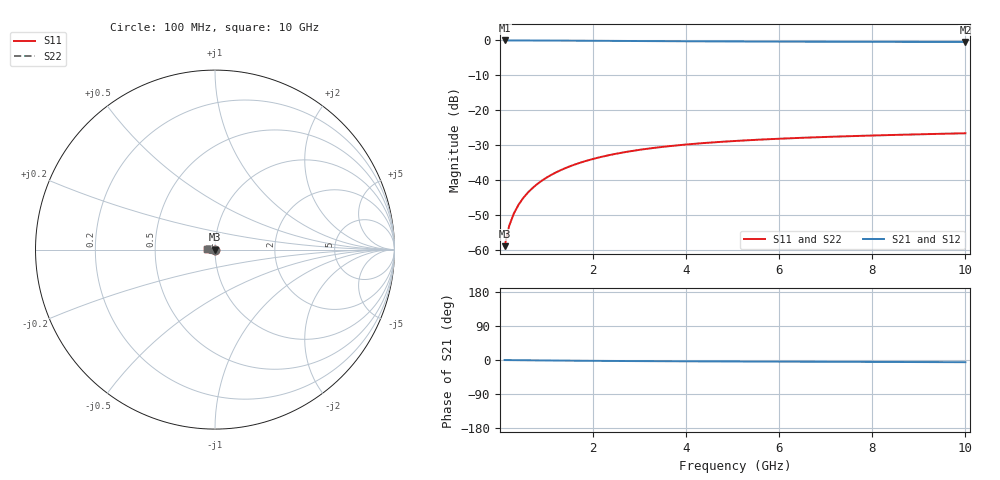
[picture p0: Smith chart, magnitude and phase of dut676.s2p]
! Touchstone file exported from HFSS 2024.1.0
!  File:  C:/UserFiles/LocalFiles/RDL_TSV_Batchsim/temp_TSV1_676_1779794632.aedt
!  Generated:  07:28:42 PM May 26, 2026
!  Design:  TSV1
!  Project:  temp_TSV1_676_1779794632
!  Setup:  Setup1
!  Solution:  Sweep
! Variables:
!  dtsv = 8um
!  hbump = 3um
!  htsv = 92.06um
!  lrdl = 252.1521522um
!  p = 40
!  p1 = 43.88um
!  t = 500um
!  trdl = 3um
!  wrdl = 24.89489489um
# GHz S MA R 50.000000
! Terminal data exported
! Port[1] = TSV22_T1
! Port[2] = TSV22_T2
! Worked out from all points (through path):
!   100 points, 100 MHz to 10 GHz, reference 50 ohm
!   highest |S21| = 0.00 dB at 100 MHz (marker M1); lowest = -0.4 dB at 10 GHz (marker M2)
!   lowest |S11| = -59.0 dB at 100 MHz (marker M3), VSWR 1.00, Z = 50 - j0.111 ohm
!   |S11| at or under -10 dB: start of sweep to end of sweep
!   |S22| runs from -59.0 to -26.6 dB; largest |S21 - S12| = 2.1e-15
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0.1  0.001128 -78.9  0.9997 -0.1  0.9997 -0.1  0.001128 -78.9
! Gamma 0 0 0 0
! Port Impedance 50 0 50 0
0.2  0.002225 -86.7  0.9996 -0.2  0.9996 -0.2  0.002225 -86.7
0.3  0.003331 -90.5  0.9994 -0.4  0.9994 -0.4  0.003331 -90.5
0.4  0.004432 -93.3  0.9992 -0.5  0.9992 -0.5  0.004432 -93.3
0.5  0.005527 -95.6  0.9989 -0.6  0.9989 -0.6  0.005527 -95.6
0.6  0.006612 -97.7  0.9985 -0.7  0.9985 -0.7  0.006612 -97.7
0.7  0.007685 -99.7  0.9981 -0.9  0.9981 -0.9  0.007685 -99.7
0.8  0.008746 -101.6  0.9976 -1.0  0.9976 -1.0  0.008746 -101.6
0.9  0.009792 -103.4  0.9971 -1.1  0.9971 -1.1  0.009792 -103.4
1.1  0.01183 -106.9  0.996 -1.3  0.996 -1.3  0.01183 -106.9
1.4  0.01476 -111.8  0.9939 -1.6  0.9939 -1.6  0.01476 -111.8
1.6  0.01661 -115.0  0.9924 -1.8  0.9924 -1.8  0.01661 -115.0
1.8  0.01837 -118.0  0.9908 -2.0  0.9908 -2.0  0.01837 -118.0
2.1  0.02084 -122.3  0.9882 -2.3  0.9882 -2.3  0.02084 -122.3
2.5  0.02383 -127.7  0.9848 -2.6  0.9848 -2.6  0.02383 -127.7
2.9  0.02648 -132.7  0.9814 -2.9  0.9814 -2.9  0.02648 -132.7
3.4  0.02935 -138.5  0.9774 -3.2  0.9774 -3.2  0.02935 -138.5
4.2  0.03312 -146.6  0.9716 -3.6  0.9716 -3.6  0.03312 -146.6
5.1  0.03643 -154.5  0.9662 -4.0  0.9662 -4.0  0.03643 -154.5
6.7  0.04076 -166.0  0.9591 -4.6  0.9591 -4.6  0.04076 -166.0
8.4  0.04415 -175.9  0.954 -5.2  0.954 -5.2  0.04415 -175.9
10  0.04678 176.3  0.9506 -5.8  0.9506 -5.8  0.04678 176.3
